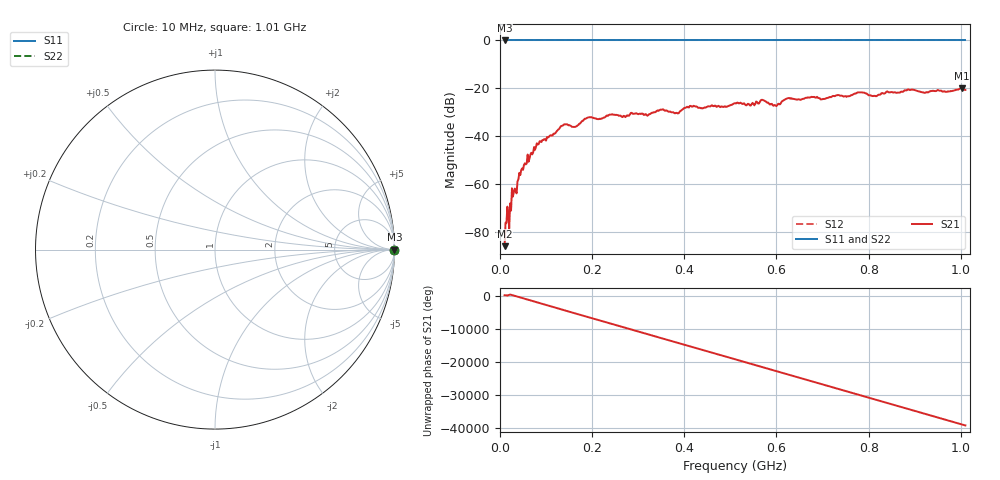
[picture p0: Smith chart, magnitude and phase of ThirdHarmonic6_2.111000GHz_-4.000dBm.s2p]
! 8/17/2025 1:14:36 AM
! C:\ANRITSUVNA\TEMP\TEMP.S2P
! CHANNEL.1
! TR.MEASUREMENT
! RAW.DATA
! RF.CORRECTION.OFF
! AVERAGING.OFF
! IF.BANDWIDTH: 5KHZ
! SWEEPTYPE:  FREQ.SWEEP(Linear)
! Reference Plane Port Info
! PORT:  PORT1  PORT2
! DISTANCE:  0  m  0  m
! TIME:  0  s  0  s
! PHASE.OFFSET:  0  deg.  0  deg.
! LOSS:  0  dB  0  dB
! REF.LOSS:  0  dB  0  dB
! REF.FREQ:  0  Hz  0  Hz
! Power Info
! POWER:  -20  dBm  -20  dBm
! EFF.POWER:  -20  dBm  -20  dBm
! SOURCE.ATTEN:  0  dB  0  dB
! TEST.ATTEN:  0  dB  0  dB
# GHZ S RI R 50.0
! FREQ.GHZ  S11RE  S11IM  S21RE  S21IM  S12RE  S12IM  S22RE  S22IM
!; PortSelection: Port_12
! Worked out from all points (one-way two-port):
!   501 points, 10 MHz to 1.01 GHz, reference 50 ohm
!   highest |S21| = -20.01 dB at 1.002 GHz (marker M1); lowest = -86.1 dB at 10 MHz (marker M2)
!   lowest |S11| = 0.0 dB at 10 MHz (marker M3)
!   |S11| at or under -10 dB: nowhere
!   |S22| runs from 0.0 to 0.0 dB; largest |S21 - S12| = 1.1
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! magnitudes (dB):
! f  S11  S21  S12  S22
! 10 MHz  0.0  -86.1  0.0  0.0
! 22 MHz  0.0  -68.2  0.0  0.0
! 30 MHz  0.0  -63.5  0.0  0.0
! 32 MHz  0.0  -62.0  0.0  0.0
! 44 MHz  0.0  -56.4  0.0  0.0
! 78 MHz  0.0  -44.5  0.0  0.0
! 136 MHz  0.0  -35.7  0.0  0.0
! 162 MHz  0.0  -36.2  0.0  0.0
! 178 MHz  0.0  -33.7  0.0  0.0
! 194 MHz  0.0  -32.1  0.0  0.0
! 322 MHz  0.0  -31.1  0.0  0.0
! 344 MHz  0.0  -29.5  0.0  0.0
! 384 MHz  0.0  -30.3  0.0  0.0
! 416 MHz  0.0  -27.7  0.0  0.0
! 510 MHz  0.0  -26.3  0.0  0.0
! 570 MHz  0.0  -24.9  0.0  0.0
! 596 MHz  0.0  -27.0  0.0  0.0
! 624 MHz  0.0  -24.2  0.0  0.0
! 678 MHz  0.0  -23.6  0.0  0.0
! 844 MHz  0.0  -21.7  0.0  0.0
! 1.002 GHz  0.0  -20.0  0.0  0.0
! 1.01 GHz  0.0  -20.7  0.0  0.0
